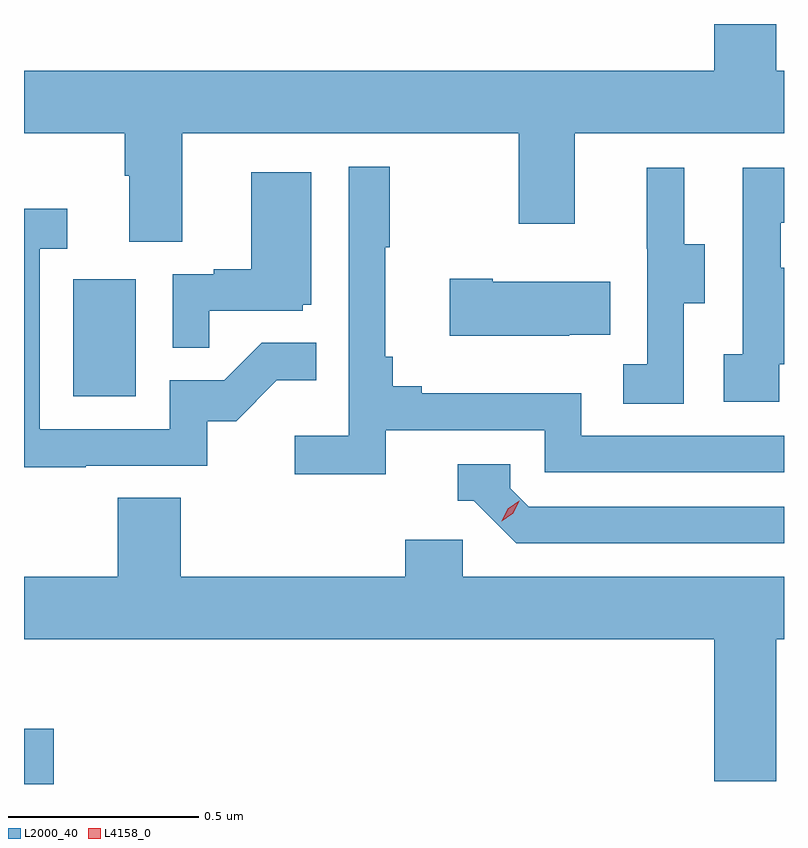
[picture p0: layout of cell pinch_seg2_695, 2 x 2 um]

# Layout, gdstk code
import gdstk
lib = gdstk.Library(unit=1e-6, precision=1e-09)
def R(c, l, rs):  # rectangles x0, y0, x1, y1
    for r in rs: c.add(gdstk.rectangle(r[:2], r[2:], *l))
def P(c, l, *ps):  # polygons
    for p in ps: c.add(gdstk.Polygon(p, *l))
L2000_40 = (2000, 40)
L4158_0 = (4158, 0)

pinch_seg2_695 = lib.new_cell('pinch_seg2_695')
R(pinch_seg2_695, L2000_40, [(1134.22,601.967,1134.298,602.113), (1134.35,602.988,1134.514,603.295)])
P(pinch_seg2_695, L2000_40, [(1134.637,603.68),(1135.522,603.68),(1135.522,603.441),(1135.669,603.441),(1135.669,603.68),(1136.22,603.68),(1136.22,603.844),(1136.2,603.844),(1136.2,603.967),(1136.036,603.967),(1136.036,603.844),(1134.22,603.844),(1134.22,603.68),(1134.485,603.68),(1134.485,603.568),(1134.497,603.568),(1134.497,603.394),(1134.637,603.394)],
  [(1135.172,602.898),(1135.59,602.898),(1135.59,602.787),(1136.22,602.787),(1136.22,602.883),(1135.686,602.883),(1135.686,602.995),(1135.267,602.995),(1135.267,603.014),(1135.19,603.014),(1135.19,603.091),(1135.171,603.091),(1135.171,603.379),(1135.183,603.379),(1135.183,603.592),(1135.074,603.592),(1135.074,602.884),(1134.933,602.884),(1134.933,602.782),(1135.172,602.782)],
  [(1136.208,603.071),(1136.22,603.071),(1136.22,603.326),(1136.211,603.326),(1136.211,603.444),(1136.22,603.444),(1136.22,603.589),(1136.112,603.589),(1136.112,603.098),(1136.061,603.098),(1136.061,602.973),(1136.208,602.973)],
  [(1135.956,603.232),(1136.011,603.232),(1136.011,603.387),(1135.957,603.387),(1135.957,603.589),(1135.859,603.589),(1135.859,603.375),(1135.86,603.375),(1135.86,603.071),(1135.797,603.071),(1135.797,602.968),(1135.956,602.968)],
  [(1134.707,603.213),(1134.954,603.213),(1134.954,603.228),(1134.976,603.228),(1134.976,603.577),(1134.818,603.577),(1134.818,603.322),(1134.719,603.322),(1134.719,603.309),(1134.612,603.309),(1134.612,603.115),(1134.707,603.115)],
  [(1134.383,602.805),(1134.702,602.805),(1134.702,602.922),(1134.778,602.922),(1134.885,603.029),(1134.989,603.029),(1134.989,603.128),(1134.845,603.128),(1134.747,603.03),(1134.603,603.03),(1134.603,602.901),(1134.261,602.901),(1134.261,603.375),(1134.334,603.375),(1134.334,603.481),(1134.22,603.481),(1134.22,602.8),(1134.383,602.8)],
  [(1135.655,603.149),(1135.763,603.149),(1135.763,603.289),(1135.453,603.289),(1135.453,603.297),(1135.341,603.297),(1135.341,603.146),(1135.655,603.146)],
  [(1136.22,602.697),(1135.548,602.697),(1135.5,602.745),(1135.5,602.808),(1135.361,602.808),(1135.361,602.712),(1135.404,602.712),(1135.515,602.601),(1136.22,602.601)],
  [(1136.2,602.348),(1136.22,602.348),(1136.22,602.512),(1135.374,602.512),(1135.374,602.61),(1135.223,602.61),(1135.223,602.512),(1134.632,602.512),(1134.632,602.72),(1134.467,602.72),(1134.467,602.512),(1134.22,602.512),(1134.22,602.348),(1136.036,602.348),(1136.036,601.974),(1136.2,601.974)])
P(pinch_seg2_695, L4158_0, [(1135.477,602.658),(1135.477,602.658),(1135.493,602.692),(1135.523,602.712),(1135.523,602.712),(1135.523,602.712),(1135.508,602.679),(1135.477,602.658)])

lib.write_gds('pinch_seg2_695.gds')
